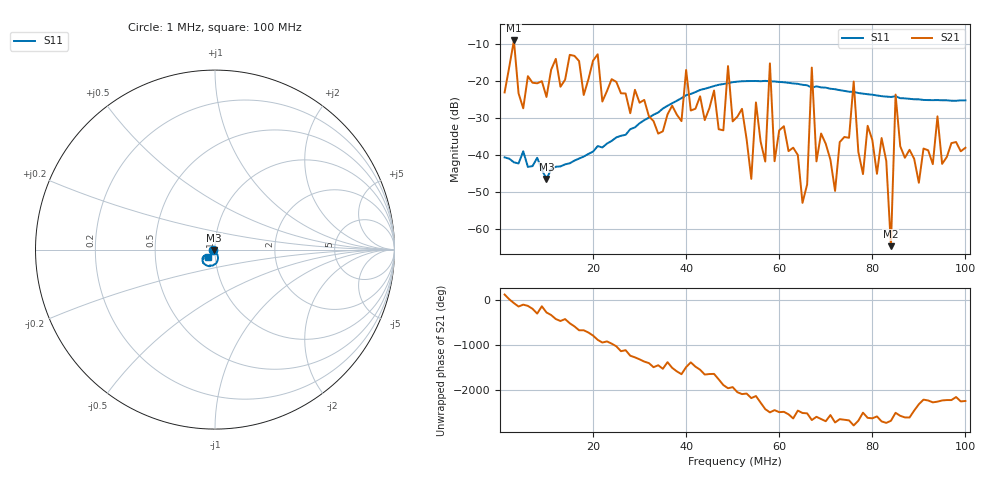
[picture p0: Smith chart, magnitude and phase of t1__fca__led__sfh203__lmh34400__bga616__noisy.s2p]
# HZ S RI R 50
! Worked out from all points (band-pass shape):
!   100 points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, 1 MHz to 100 MHz, reference 50 ohm
!   highest |S21| = -9.04 dB at 3 MHz (marker M1); lowest = -64.7 dB at 84 MHz (marker M2)
!   |S21| within 3 dB of the highest: 2.581 MHz to 3.209 MHz (628.1 kHz wide, 21.7 % of centre)
!   lowest |S11| = -46.5 dB at 10 MHz (marker M3), VSWR 1.01, Z = 49.6 - j0.267 ohm
!   |S11| at or under -10 dB: start of sweep to end of sweep
!   S12 and S22 are empty: the file has one direction only
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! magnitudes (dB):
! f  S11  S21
! 1 MHz  -40.7  -23.1
! 3 MHz  -42.0  -9.0
! 10 MHz  -46.5  -24.3
! 18 MHz  -40.5  -23.8
! 34 MHz  -28.6  -34.3
! 40 MHz  -23.9  -17.0
! 51 MHz  -20.2  -29.7
! 57 MHz  -20.0  -41.8
! 58 MHz  -20.1  -15.2
! 59 MHz  -20.1  -41.7
! 65 MHz  -21.1  -53.0
! 67 MHz  -21.9  -16.4
! 68 MHz  -21.5  -41.8
! 72 MHz  -22.2  -49.8
! 76 MHz  -22.9  -20.2
! 78 MHz  -23.4  -45.2
! 82 MHz  -24.1  -35.4
! 84 MHz  -24.3  -64.7
! 85 MHz  -24.1  -23.7
! 90 MHz  -25.0  -47.6
! 94 MHz  -25.2  -29.6
! 100 MHz  -25.3  -38.1
